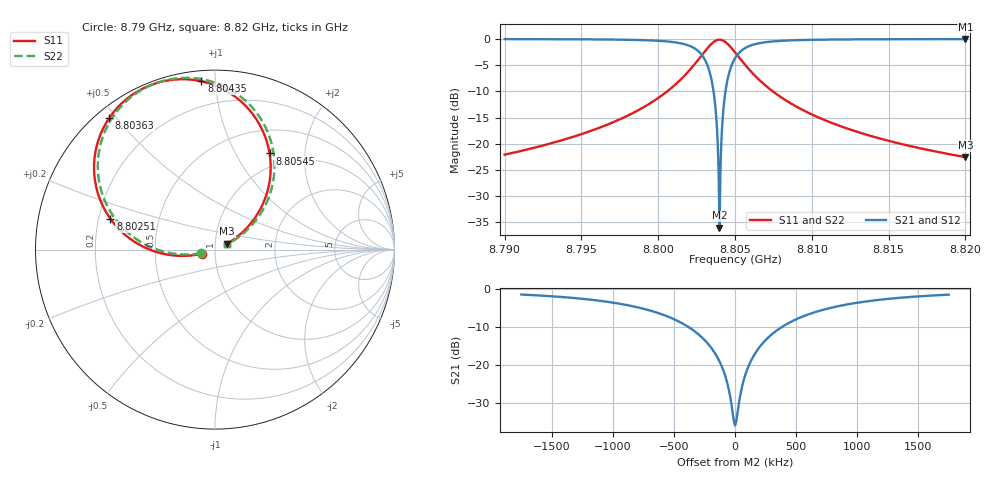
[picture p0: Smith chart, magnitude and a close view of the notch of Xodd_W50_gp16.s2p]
! Sonnet Data File
! From: emgraph Version : 16.52
! From Project: Qubit_Xmon2
! Data is De-embedded
! Data File Written: 10/18/2017 16:48:16
!< HDATE 10/18/2017 14:47:42
!< MDATE 10/18/2017 14:47:42
!< PARAMS
!< Lj = 11.0
!< Gap = 16.0
!< Pwid = 2000.0
!< Airgap = 30.0
!< Width = 50.0
!< END PARAMS
# GHZ S MA R 45.30000
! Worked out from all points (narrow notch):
!   3001 points, 8.79 GHz to 8.82 GHz, reference 45.3 ohm
!   highest |S21| = -0.02 dB at 8.82 GHz (marker M1); lowest = -36.0 dB at 8.80399 GHz (marker M2)
!   notch at M2: 35.9 dB deep, 292 kHz wide at half that depth
!   lowest |S11| = -22.6 dB at 8.82 GHz (marker M3), VSWR 1.16, Z = 51.7 + j3.39 ohm
!   |S11| at or under -10 dB: start of sweep to 8.800586 GHz; 8.80746 GHz to end of sweep
!   |S22| runs from -22.6 to -0.1 dB; largest |S21 - S12| = 0
!   S11 on the Smith chart (normalised r, x): 8.79 GHz: 0.86, -0.04; 8.80251 GHz: 0.25, +0.14; 8.80363 GHz: 0.04, +0.48; 8.80435 GHz: 0.06, +0.92; 8.80545 GHz: 0.80, +1.39; 8.82 GHz: 1.14, +0.07
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8.79  0.07863 -162.8  0.9968 -74.0  0.9968 -74.0  0.07863 -165.4
!< P1 F=8.79 Eeff=(4.74953887 -6.4479e-5) Z0=(45.1259111 -2.0732e-4) R=0.0 C=0.0
!< P2 F=8.79 Eeff=(4.74953887 -6.4479e-5) Z0=(45.1259111 -2.0732e-4) R=0.0 C=0.0
8.795  0.1235 -165.5  0.9921 -76.6  0.9921 -76.6  0.1235 -168.1
8.8  0.2733 -174.4  0.9607 -85.4  0.9607 -85.4  0.2733 -177.0
8.80157  0.4248 176.1  0.902 -94.7  0.902 -94.7  0.4248 173.5
8.80251  0.6073 163.6  0.7869 -107.0  0.7869 -107.0  0.6073 161.0
8.80321  0.8172 145.6  0.5573 -124.4  0.5573 -124.4  0.8172 142.9
8.80345  0.8926 136.6  0.4215 -132.7  0.4215 -132.7  0.8926 134.0
8.80363  0.9401 128.9  0.2962 -139.5  0.2962 -139.5  0.9401 126.3
8.80377  0.967 122.4  0.1868 -144.1  0.1868 -144.1  0.967 119.8
8.8039  0.9812 116.2  0.07924 -143.7  0.07924 -143.7  0.9812 113.5
8.80399  0.9842 111.7  0.01583 -72.1  0.01583 -72.1  0.9842 109.1
8.80409  0.9806 106.8  0.08619 5.0  0.08619 5.0  0.9806 104.2
8.80421  0.9673 101.0  0.1853 4.9  0.1853 4.9  0.9673 98.4
8.80435  0.9407 94.6  0.2945 0.3  0.2945 0.3  0.9407 92.0
8.80462  0.8665 83.4  0.4745 -9.6  0.4745 -9.6  0.8665 80.8
8.805  0.7451 70.9  0.6535 -21.5  0.6535 -21.5  0.7451 68.3
8.80545  0.6159 60.4  0.7801 -31.6  0.7801 -31.6  0.6159 57.8
8.80616  0.4681 50.1  0.8797 -41.7  0.8797 -41.7  0.4681 47.5
8.80705  0.3531 42.7  0.9335 -49.0  0.9335 -49.0  0.3531 40.1
8.81  0.1904 32.8  0.9811 -58.7  0.9811 -58.7  0.1904 30.2
8.815  0.1067 27.8  0.9941 -63.6  0.9941 -63.6  0.1067 25.2
8.82  0.07453 25.9  0.9971 -65.5  0.9971 -65.5  0.07453 23.3
